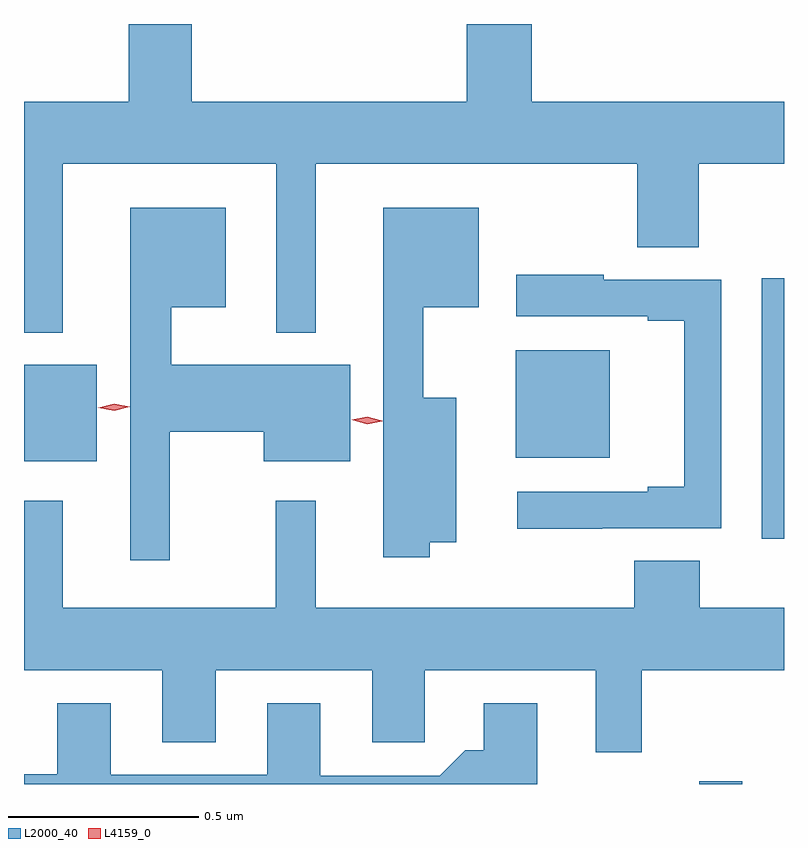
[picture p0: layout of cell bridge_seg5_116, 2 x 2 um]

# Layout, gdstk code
import gdstk
lib = gdstk.Library(unit=1e-6, precision=1e-09)
def R(c, l, rs):  # rectangles x0, y0, x1, y1
    for r in rs: c.add(gdstk.rectangle(r[:2], r[2:], *l))
def P(c, l, *ps):  # polygons
    for p in ps: c.add(gdstk.Polygon(p, *l))
L2000_40 = (2000, 40)
L4159_0 = (4159, 0)

bridge_seg5_116 = lib.new_cell('bridge_seg5_116')
R(bridge_seg5_116, L2000_40, [(452.222,872.444,452.335,872.451), (452.387,873.09,452.445,873.775), (450.445,873.293,450.637,873.547), (451.739,873.302,451.987,873.586)])
P(bridge_seg5_116, L2000_40, [(451.781,874.444),(451.61,874.444),(451.61,874.24),(450.887,874.24),(450.887,874.444),(450.721,874.444),(450.721,874.24),(450.445,874.24),(450.445,873.632),(450.547,873.632),(450.547,874.076),(451.109,874.076),(451.109,873.632),(451.213,873.632),(451.213,874.076),(452.059,874.076),(452.059,873.856),(452.22,873.856),(452.22,874.076),(452.445,874.076),(452.445,874.24),(451.781,874.24)],
  [(451.513,873.08),(451.582,873.08),(451.582,873.46),(451.495,873.46),(451.495,873.698),(451.642,873.698),(451.642,873.961),(451.391,873.961),(451.391,873.041),(451.513,873.041)],
  [(450.829,873.371),(451.076,873.371),(451.076,873.293),(451.303,873.293),(451.303,873.547),(450.832,873.547),(450.832,873.698),(450.976,873.698),(450.976,873.961),(450.725,873.961),(450.725,873.033),(450.829,873.033)],
  [(451.967,873.117),(452.28,873.117),(452.28,873.771),(451.97,873.771),(451.97,873.784),(451.74,873.784),(451.74,873.675),(452.087,873.675),(452.087,873.663),(452.183,873.663),(452.183,873.226),(452.087,873.226),(452.087,873.213),(451.743,873.213),(451.743,873.116),(451.967,873.116)],
  [(452.071,872.744),(452.445,872.744),(452.445,872.908),(452.223,872.908),(452.223,873.032),(452.051,873.032),(452.051,872.908),(451.213,872.908),(451.213,873.19),(451.107,873.19),(451.107,872.908),(450.547,872.908),(450.547,873.19),(450.445,873.19),(450.445,872.744),(450.809,872.744),(450.809,872.554),(450.949,872.554),(450.949,872.744),(451.361,872.744),(451.361,872.554),(451.5,872.554),(451.5,872.744),(451.949,872.744),(451.949,872.528),(452.071,872.528)],
  [(451.795,872.656),(451.655,872.656),(451.655,872.533),(451.606,872.533),(451.539,872.466),(451.225,872.466),(451.225,872.656),(451.085,872.656),(451.085,872.469),(450.673,872.469),(450.673,872.656),(450.533,872.656),(450.533,872.47),(450.445,872.47),(450.445,872.444),(451.795,872.444)])
P(bridge_seg5_116, L4159_0, [(451.348,873.391),(451.308,873.402),(451.307,873.403),(451.308,873.403),(451.348,873.411),(451.388,873.4),(451.388,873.399),(451.388,873.399)],
  [(450.682,873.426),(450.641,873.434),(450.641,873.434),(450.641,873.434),(450.682,873.445),(450.723,873.437),(450.723,873.437),(450.723,873.437)])

lib.write_gds('bridge_seg5_116.gds')
